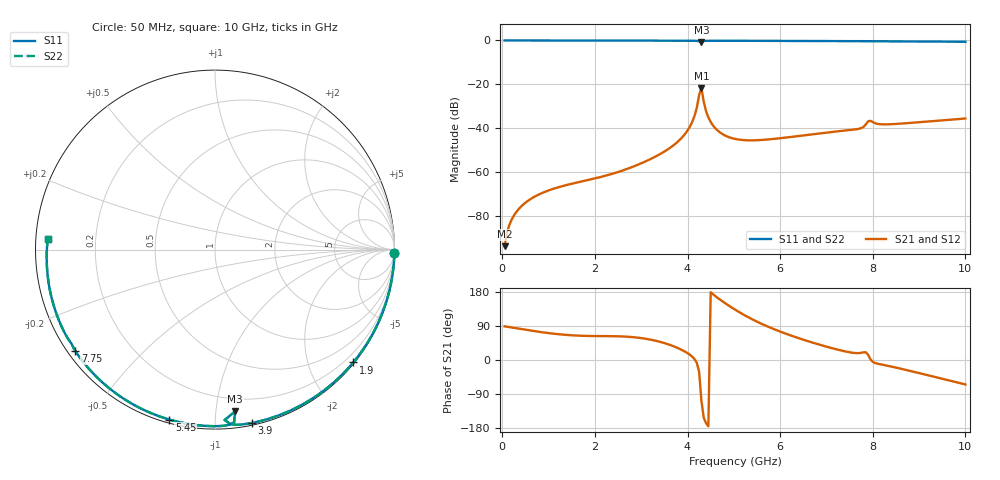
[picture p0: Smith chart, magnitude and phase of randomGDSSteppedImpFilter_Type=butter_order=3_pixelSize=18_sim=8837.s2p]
! freq	dB(S11)	phase(S11)	dB(S12)	phase(S12)
!  dB(S21)	phase(S21)	dB(S22)	phase(S22)
!S-par simulation data
#  GHz  S  DB  R 50
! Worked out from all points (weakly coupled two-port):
!   200 points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, 50 MHz to 10 GHz, reference 50 ohm
!   highest |S21| = -21.66 dB at 4.3 GHz (marker M1); lowest = -93.9 dB at 50 MHz (marker M2)
!   lowest |S11| = -0.8 dB at 4.3 GHz (marker M3), VSWR 20.85, Z = 5.45 - j56.3 ohm
!   |S11| at or under -10 dB: nowhere
!   |S22| runs from -0.8 to 0.0 dB; largest |S21 - S12| = 0
!   S11 on the Smith chart (normalised r, x): 50 MHz: open; 1.9 GHz: 0.03, -2.81; 3.9 GHz: 0.02, -1.23; 5.45 GHz: 0.02, -0.77; 7.75 GHz: 0.02, -0.32; 10 GHz: 0.03, +0.03
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0.05  -0.00 -1.1  -93.86 88.8  -93.86 88.8  -0.00 -1.1
0.25  -0.01 -5.3  -79.91 84.7  -79.91 84.7  -0.01 -5.3
0.5  -0.01 -10.5  -74.01 79.7  -74.01 79.7  -0.01 -10.5
0.85  -0.02 -17.8  -69.68 73.3  -69.68 73.3  -0.02 -17.8
1.75  -0.05 -36.2  -64.16 63.8  -64.16 63.8  -0.05 -36.2
1.9  -0.05 -39.2  -63.44 63.3  -63.44 63.3  -0.05 -39.2
2.7  -0.07 -55.0  -58.57 61.5  -58.57 61.5  -0.07 -55.0
3.4  -0.09 -68.5  -51.93 48.1  -51.93 48.1  -0.09 -68.5
3.9  -0.11 -78.0  -43.81 25.2  -43.81 25.2  -0.11 -78.0
4.15  -0.15 -83.3  -34.50 2.6  -34.50 2.6  -0.15 -83.3
4.25  -0.44 -86.8  -24.93 -31.1  -24.93 -31.1  -0.44 -86.8
4.3  -0.83 -82.9  -21.66 -108.0  -21.66 -108.0  -0.84 -82.9
4.4  -0.18 -85.4  -32.27 -166.8  -32.27 -166.8  -0.18 -85.3
4.55  -0.14 -88.8  -38.79 173.5  -38.79 173.5  -0.14 -88.8
4.75  -0.14 -92.6  -42.66 155.1  -42.66 155.1  -0.14 -92.6
5.05  -0.15 -98.0  -45.02 131.1  -45.02 131.1  -0.15 -98.0
5.45  -0.17 -105.0  -45.56 104.1  -45.56 104.1  -0.17 -105.0
6.7  -0.25 -126.4  -42.80 45.9  -42.80 45.9  -0.25 -126.4
7.75  -0.34 -144.1  -40.02 18.9  -40.02 18.9  -0.34 -144.1
7.95  -0.39 -147.2  -36.65 1.9  -36.65 1.9  -0.39 -147.2
8.35  -0.39 -154.1  -38.26 -15.9  -38.26 -15.9  -0.39 -154.1
10  -0.59 176.4  -35.61 -64.6  -35.61 -64.6  -0.59 176.4
